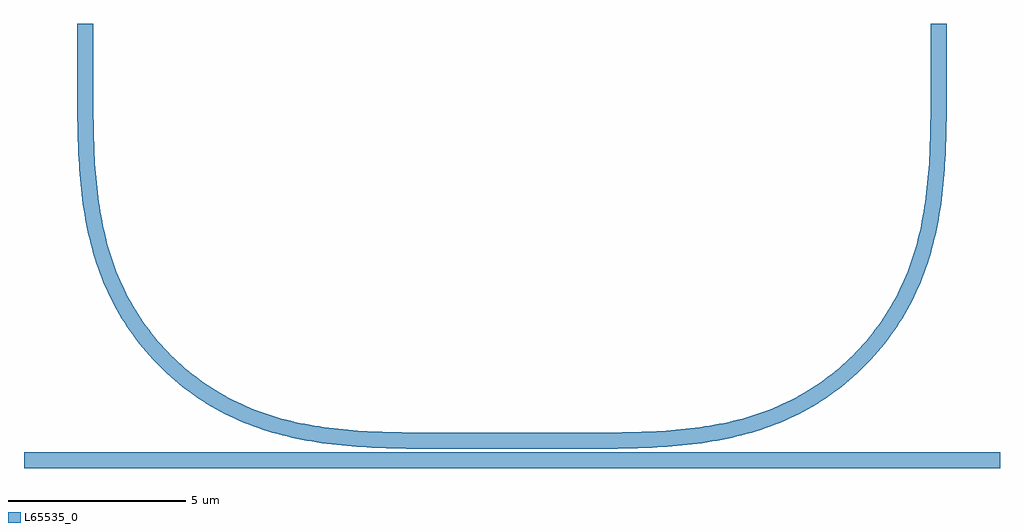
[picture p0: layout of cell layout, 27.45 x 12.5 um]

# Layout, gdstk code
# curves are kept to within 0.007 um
import gdstk
lib = gdstk.Library(unit=1e-6, precision=1e-09)
def R(c, l, rs):  # rectangles x0, y0, x1, y1
    for r in rs: c.add(gdstk.rectangle(r[:2], r[2:], *l))
def P(c, l, *ps):  # polygons
    for p in ps: c.add(gdstk.Polygon(p, *l))
L65535_0 = (65535, 0)

layout = lib.new_cell('layout')
R(layout, L65535_0, [(-15.725,-0.225,-14,0.225), (-14,-0.225,10,0.225), (10,-0.225,11.725,0.225), (-14.225,10.55,-13.775,12.275), (9.775,10.55,10.225,12.275)])
P(layout, L65535_0, [(-4.416,0.325),(-5.811,0.35),(-6.372,0.381),(-6.932,0.431),(-7.352,0.484),(-7.911,0.577),(-8.465,0.702),(-8.875,0.818),(-9.281,0.956),(-9.678,1.116),(-10.193,1.366),(-10.565,1.579),(-10.925,1.814),(-11.381,2.159),(-11.704,2.441),(-12.011,2.742),(-12.299,3.06),(-12.568,3.394),(-12.895,3.863),(-13.116,4.231),(-13.314,4.612),(-13.49,5.003),(-13.643,5.404),(-13.773,5.811),(-13.882,6.223),(-13.999,6.779),(-14.066,7.198),(-14.133,7.758),(-14.178,8.318),(-14.21,9.018),(-14.225,10.55),(-13.775,10.55),(-13.773,9.72),(-13.756,8.894),(-13.72,8.21),(-13.656,7.531),(-13.579,6.992),(-13.475,6.46),(-13.341,5.937),(-13.218,5.552),(-13.074,5.175),(-12.909,4.808),(-12.723,4.451),(-12.516,4.106),(-12.289,3.773),(-12.127,3.559),(-11.869,3.251),(-11.592,2.958),(-11.299,2.681),(-10.991,2.423),(-10.667,2.183),(-10.33,1.963),(-9.981,1.763),(-9.621,1.583),(-9.25,1.426),(-8.742,1.248),(-8.221,1.105),(-7.825,1.019),(-7.289,0.929),(-6.884,0.879),(-6.34,0.83),(-5.656,0.794),(-4.415,0.775),(1.243,0.783),(2.203,0.821),(3.019,0.894),(3.558,0.971),(4.09,1.075),(4.613,1.209),(4.998,1.332),(5.375,1.476),(5.742,1.641),(6.099,1.827),(6.556,2.108),(6.991,2.423),(7.299,2.681),(7.592,2.958),(7.957,3.352),(8.289,3.773),(8.516,4.106),(8.787,4.569),(9.022,5.052),(9.218,5.552),(9.377,6.067),(9.531,6.725),(9.621,7.261),(9.698,7.938),(9.744,8.62),(9.767,9.307),(9.775,10.55),(10.225,10.55),(10.223,9.716),(10.2,8.739),(10.169,8.178),(10.103,7.478),(9.999,6.779),(9.882,6.223),(9.732,5.675),(9.594,5.269),(9.375,4.741),(9.116,4.231),(8.895,3.863),(8.568,3.394),(8.205,2.952),(7.808,2.539),(7.381,2.159),(6.925,1.814),(6.565,1.579),(6.193,1.366),(5.678,1.116),(5.281,0.956),(4.875,0.818),(4.327,0.668),(3.771,0.551),(3.213,0.465),(2.372,0.381),(1.252,0.333)])

lib.write_gds('layout.gds')
